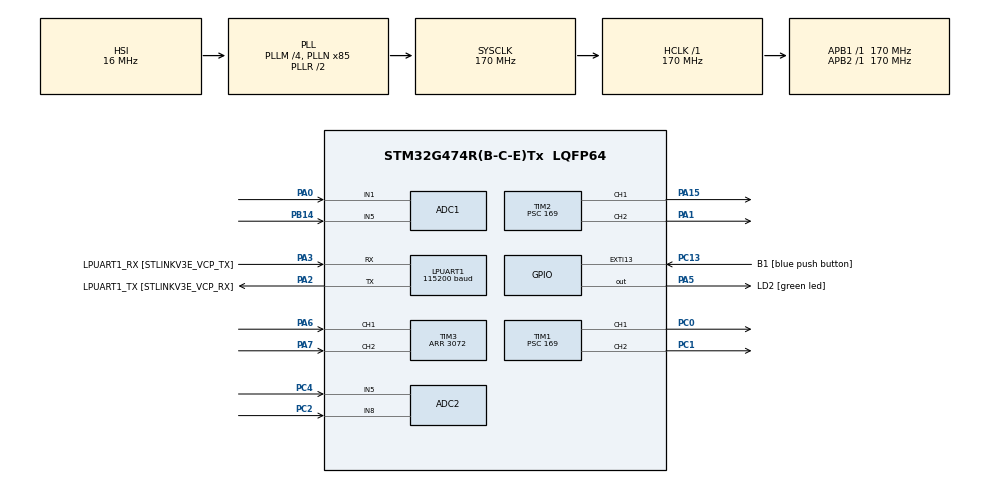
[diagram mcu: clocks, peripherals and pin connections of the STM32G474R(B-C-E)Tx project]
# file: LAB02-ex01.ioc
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ADC1.Channel-0\#ChannelRegularConversion=ADC_CHANNEL_5
ADC1.NbrOfConversion=2
ADC1.NbrOfConversionFlag=1
ADC1.OffsetNumber-0\#ChannelRegularConversion=ADC_OFFSET_NONE
ADC1.Rank-0\#ChannelRegularConversion=2
ADC1.SamplingTime-0\#ChannelRegularConversion=ADC_SAMPLETIME_640CYCLES_5
ADC1.master=1
ADC2.Channel-0\#ChannelRegularConversion=ADC_CHANNEL_5
ADC2.Channel-1\#ChannelRegularConversion=ADC_CHANNEL_8
ADC2.ContinuousConvMode=DISABLE
ADC2.DMAContinuousRequests=DISABLE
ADC2.NbrOfConversion=2
ADC2.NbrOfConversionFlag=1
ADC2.OffsetNumber-0\#ChannelRegularConversion=ADC_OFFSET_NONE
ADC2.OffsetNumber-1\#ChannelRegularConversion=ADC_OFFSET_NONE
ADC2.Rank-0\#ChannelRegularConversion=1
ADC2.Rank-1\#ChannelRegularConversion=2
ADC2.SamplingTime-0\#ChannelRegularConversion=ADC_SAMPLETIME_640CYCLES_5
ADC2.SamplingTime-1\#ChannelRegularConversion=ADC_SAMPLETIME_640CYCLES_5
ARM.CMSIS-DSP.1.15.0.CMSISJjDSP=Source
ARM.CMSIS.6.0.0.CMSISJjCORE=true
LPUART1.BaudRate=115200
LPUART1.WordLength=UART_WORDLENGTH_8B
Mcu.Family=STM32G4
Mcu.Name=STM32G474R(B-C-E)Tx
Mcu.Package=LQFP64
NVIC.ADC1_2_IRQn=true\:0\:0\:false\:false\:true\:true\:true\:true
NVIC.EXTI15_10_IRQn=true\:0\:0\:false\:false\:true\:true\:true\:true
NVIC.LPUART1_IRQn=true\:0\:0\:false\:false\:true\:true\:true\:true
NVIC.PriorityGroup=NVIC_PRIORITYGROUP_4
NVIC.TIM5_IRQn=true\:0\:0\:false\:false\:true\:true\:true\:true
PA0.Mode=IN1-Single-Ended
PA0.Signal=ADC1_IN1
PA1.Signal=S_TIM2_CH2
PA13.GPIO_Label=T_SWDIO
PA13.Mode=Trace_Asynchronous_SW
PA13.Signal=SYS_JTMS-SWDIO
PA14.GPIO_Label=T_SWCLK
PA14.Mode=Trace_Asynchronous_SW
PA14.Signal=SYS_JTCK-SWCLK
PA15.Signal=S_TIM2_CH1
PA2.GPIO_Label=LPUART1_TX [STLINKV3E_VCP_RX]
PA2.Mode=Asynchronous
PA2.Signal=LPUART1_TX
PA3.GPIO_Label=LPUART1_RX [STLINKV3E_VCP_TX]
PA3.Mode=Asynchronous
PA3.Signal=LPUART1_RX
PA5.GPIO_Label=LD2 [green led]
PA5.Signal=GPIO_Output
PA6.Signal=S_TIM3_CH1
PA7.Signal=S_TIM3_CH2
PB14.Mode=IN5-Single-Ended
PB14.Signal=ADC1_IN5
PB3.GPIO_Label=T_SWO
PB3.Mode=Trace_Asynchronous_SW
PB3.Signal=SYS_JTDO-SWO
PC0.Signal=S_TIM1_CH1
PC1.Signal=S_TIM1_CH2
PC13.GPIO_Label=B1 [blue push button]
PC13.Signal=GPXTI13
PC14-OSC32_IN.Mode=LSE-External-Oscillator
PC14-OSC32_IN.Signal=RCC_OSC32_IN
PC15-OSC32_OUT.Mode=LSE-External-Oscillator
PC15-OSC32_OUT.Signal=RCC_OSC32_OUT
PC2.Mode=IN8-Single-Ended
PC2.Signal=ADC2_IN8
PC4.Mode=IN5-Single-Ended
PC4.Signal=ADC2_IN5
PF0-OSC_IN.Mode=HSE-External-Oscillator
PF0-OSC_IN.Signal=RCC_OSC_IN
PF1-OSC_OUT.Mode=HSE-External-Oscillator
PF1-OSC_OUT.Signal=RCC_OSC_OUT
ProjectManager.HeapSize=0x200
ProjectManager.StackSize=0x400
ProjectManager.TargetToolchain=STM32CubeIDE
RCC.ADC12Freq_Value=170000000
RCC.ADC345Freq_Value=170000000
RCC.AHBFreq_Value=170000000
RCC.APB1Freq_Value=170000000
RCC.APB1TimFreq_Value=170000000
RCC.APB2Freq_Value=170000000
RCC.APB2TimFreq_Value=170000000
RCC.CortexFreq_Value=170000000
RCC.EXTERNAL_CLOCK_VALUE=12288000
RCC.HCLKFreq_Value=170000000
RCC.HSE_VALUE=24000000
RCC.HSI48_VALUE=48000000
RCC.HSI_VALUE=16000000
RCC.PLLM=RCC_PLLM_DIV4
RCC.PLLN=85
RCC.RTCClockSelection=RCC_RTCCLKSOURCE_LSE
RCC.SYSCLKFreq_VALUE=170000000
RCC.SYSCLKSource=RCC_SYSCLKSOURCE_PLLCLK
RCC.USBFreq_Value=170000000
RCC.VCOOutputFreq_Value=340000000
SH.S_TIM1_CH1.0=TIM1_CH1,PWM Generation1 CH1
SH.S_TIM1_CH2.0=TIM1_CH2,PWM Generation2 CH2
SH.S_TIM2_CH1.0=TIM2_CH1,PWM Generation1 CH1
SH.S_TIM2_CH2.0=TIM2_CH2,PWM Generation2 CH2
SH.S_TIM3_CH1.0=TIM3_CH1,Encoder_Interface
SH.S_TIM3_CH2.0=TIM3_CH2,Encoder_Interface
TIM1.Channel-PWM\ Generation1\ CH1=TIM_CHANNEL_1
TIM1.Channel-PWM\ Generation2\ CH2=TIM_CHANNEL_2
TIM1.PeriodNoDither=1000
TIM1.Prescaler=169
TIM2.Channel-PWM\ Generation1\ CH1=TIM_CHANNEL_1
TIM2.Channel-PWM\ Generation2\ CH2=TIM_CHANNEL_2
TIM2.PeriodNoDither=19999
TIM2.Prescaler=169
TIM3.EncoderMode=TIM_ENCODERMODE_TI12
TIM3.PeriodNoDither=3072
TIM5.PeriodNoDither=1000
TIM5.Prescaler=169
VP_ARM.CMSIS-DSP_VS_CMSISJjDSP_1.15.0_1.15.0.Mode=CMSISJjDSP
VP_ARM.CMSIS_VS_CMSISJjCORE_6.0.0_6.0.0.Mode=CMSISJjCORE
VP_SYS_VS_DBSignals.Mode=DisableDeadBatterySignals
VP_TIM1_VS_ClockSourceINT.Mode=Internal
VP_TIM2_VS_ClockSourceINT.Mode=Internal
VP_TIM5_VS_ClockSourceINT.Mode=Internal
board=NUCLEO-G474RE

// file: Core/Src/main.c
/* USER CODE BEGIN Header */
/**
  ******************************************************************************
  * @file           : main.c
  * @brief          : Main program body
  ******************************************************************************
  * @attention
  *
  * Copyright (c) 2024 STMicroelectronics.
  * All rights reserved.
  *
  * This software is licensed under terms that can be found in the LICENSE file
  * in the root directory of this software component.
  * If no LICENSE file comes w  ith this software, it is provided AS-IS.
  *
  ******************************************************************************
  */
/* USER CODE END Header */
#include "main.h"

/* USER CODE BEGIN Includes */
#include "arm_math.h"
#include "stdio.h"
#include "string.h"
/* USER CODE END Includes */

ADC_HandleTypeDef hadc1;
ADC_HandleTypeDef hadc2;

UART_HandleTypeDef hlpuart1;

TIM_HandleTypeDef htim1;
TIM_HandleTypeDef htim2;
TIM_HandleTypeDef htim3;
TIM_HandleTypeDef htim5;

/* USER CODE BEGIN PV */
struct _ADC_tag {
ADC_ChannelConfTypeDef Config;
uint16_t data;
};
uint8_t Current_Channel = 0;

arm_pid_instance_f32 PID = {0};
arm_pid_instance_f32 PID_QEI = {0};

float anglepi, Vfeedback, setSpd, Position[2], DiffPosi, Vfeedback_QEI;
int angle, oldangle, PWM1, PWM2, QEIangle, Setangle;

uint16_t mode = 1;
uint16_t GPIO_PIN;

float setNEWspd, setPoint, D1, D2, D3, D4, NEWspd;

uint32_t QEIReadRaw, QEIReadOld;
int32_t spd, pos, maxSpd, posMM;
int posi;
int32_t set_pos;
float x;

//int ADC_sum[1] = {0};
uint16_t ADC_avg[1] = {0};
uint8_t ADCBytes[4];
uint16_t datasend;
int Degree_position = 0;
int Rad_position = 0;
uint8_t Recieve_PWM[5];
int PWM1 = 0;
int PWM2 = 0;
uint64_t _micros = 0;
float setposition=0;
int poten1=0;
int poten2=0;
float position=0;
float error = 0;

struct _ADC_tag ADC2_Channel[2] =
{
{
.Config.Channel = ADC_CHANNEL_5,
.Config.Rank = ADC_REGULAR_RANK_1,
.Config.SamplingTime = ADC_SAMPLETIME_640CYCLES_5,
.Config.SingleDiff = ADC_SINGLE_ENDED,
.Config.OffsetNumber = ADC_OFFSET_NONE,
.Config.Offset = 0,
.data = 0
},
{
.Config.Channel = ADC_CHANNEL_8,
.Config.Rank = ADC_REGULAR_RANK_2,
.Config.SamplingTime = ADC_SAMPLETIME_640CYCLES_5,
.Config.SingleDiff = ADC_SINGLE_ENDED,
.Config.OffsetNumber = ADC_OFFSET_NONE,
.Config.Offset = 0,
.data = 0
},
};

struct _ADC_tag ADC[2] = {
{
.Config.Channel = ADC_CHANNEL_1,
.Config.Rank = ADC_REGULAR_RANK_1,
.Config.SamplingTime = ADC_SAMPLETIME_640CYCLES_5,
.Config.SingleDiff = ADC_SINGLE_ENDED,
.Config.OffsetNumber = ADC_OFFSET_NONE,
.Config.Offset = 0,
.data = 0
},
{
.Config.Channel = ADC_CHANNEL_5,
.Config.Rank = ADC_REGULAR_RANK_2,
.Config.SamplingTime = ADC_SAMPLETIME_640CYCLES_5,
.Config.SingleDiff = ADC_SINGLE_ENDED,
.Config.OffsetNumber = ADC_OFFSET_NONE,
.Config.Offset = 0,
.data = 0
}

};

/* USER CODE END PV */

void SystemClock_Config(void);
static void MX_GPIO_Init(void);
static void MX_LPUART1_UART_Init(void);
static void MX_ADC1_Init(void);
static void MX_TIM1_Init(void);
static void MX_TIM5_Init(void);
static void MX_TIM3_Init(void);
static void MX_TIM2_Init(void);
static void MX_ADC2_Init(void);
/* USER CODE BEGIN PFP */
void avg();
void UARTInterruptConfig();
uint64_t micros();
void ADC_Read_blocking();
/* USER CODE END PFP */

int main(void)
{

  /* MCU Configuration--------------------------------------------------------*/

  /* Reset of all peripherals, Initializes the Flash interface and the Systick. */
  HAL_Init();

  /* Configure the system clock */
  SystemClock_Config();

  /* Initialize all configured peripherals */
  MX_GPIO_Init();
  MX_LPUART1_UART_Init();
  MX_ADC1_Init();
  MX_TIM1_Init();
  MX_TIM5_Init();
  MX_TIM3_Init();
  MX_TIM2_Init();
  MX_ADC2_Init();
  /* USER CODE BEGIN 2 */

  HAL_ADCEx_Calibration_Start(&hadc1, ADC_SINGLE_ENDED);
  HAL_ADC_Start_IT(&hadc1);

  HAL_TIM_Encoder_Start(&htim3,TIM_CHANNEL_ALL);
  HAL_TIM_Base_Start(&htim1);
  HAL_TIM_Base_Start(&htim2);
  HAL_TIM_Base_Start_IT(&htim5);

  HAL_TIM_PWM_Start(&htim1, TIM_CHANNEL_1);
  HAL_TIM_PWM_Start(&htim1, TIM_CHANNEL_2);
  HAL_TIM_PWM_Start(&htim2, TIM_CHANNEL_1);
  HAL_TIM_PWM_Start(&htim2, TIM_CHANNEL_2);
  PID.Kp = 0.002;
  PID.Ki = 0;
  PID.Kd = 0.0012;
  arm_pid_init_f32(&PID, 0);

  PID_QEI.Kp = 0.1;
  PID_QEI.Ki = 0;
  PID_QEI.Kd = 0.92425;
  arm_pid_init_f32(&PID_QEI, 0);
  void EX1_PID();
  void EX2_PID();
  void EX3();
  void Rmotor();
  void Lmotor();
  void Stopmotor();

  HAL_ADCEx_Calibration_Start(&hadc2, ADC_SINGLE_ENDED);

  /* USER CODE END 2 */

  /* Infinite loop */
  while (1)
  {

    /* USER CODE BEGIN 3 */
	  ADC_Read_blocking();
	  avg();

	  QEIReadRaw = __HAL_TIM_GET_COUNTER(&htim3);
	  QEIangle = (QEIReadRaw / 3072.0) * 360.0;

	  Setangle = (ADC[1].data / 4095.0) * 360.0;
	  setNEWspd = ((Vfeedback / 360.0)*(500.0));

//	  spd=(Vfeedback_QEI*20.0)+200.0;
	  spd=((Vfeedback_QEI/3600.0)*200.0);
	  setPoint = Setangle;

	  if (mode==1)
	       {
	          EX1_PID();

	          QEI_Stopmotor();
	          led1();
	       }

	     else if (mode==2)
	       {
	          EX2_PID();
	    	 Stopmotor();
	          led2();
	       }

	     else
	     {
	    	 EX3();
	        Stopmotor();
	        QEI_Stopmotor();
	        led3();

	     }

	  ////////////////////////////////////////////////////////

	}

  /* USER CODE END 3 */
}

void SystemClock_Config(void)
{
  RCC_OscInitTypeDef RCC_OscInitStruct = {0};
  RCC_ClkInitTypeDef RCC_ClkInitStruct = {0};

  /** Configure the main internal regulator output voltage
  */
  HAL_PWREx_ControlVoltageScaling(PWR_REGULATOR_VOLTAGE_SCALE1_BOOST);

  /** Initializes the RCC Oscillators according to the specified parameters
  * in the RCC_OscInitTypeDef structure.
  */
  RCC_OscInitStruct.OscillatorType = RCC_OSCILLATORTYPE_HSI;
  RCC_OscInitStruct.HSIState = RCC_HSI_ON;
  RCC_OscInitStruct.HSICalibrationValue = RCC_HSICALIBRATION_DEFAULT;
  RCC_OscInitStruct.PLL.PLLState = RCC_PLL_ON;
  RCC_OscInitStruct.PLL.PLLSource = RCC_PLLSOURCE_HSI;
  RCC_OscInitStruct.PLL.PLLM = RCC_PLLM_DIV4;
  RCC_OscInitStruct.PLL.PLLN = 85;
  RCC_OscInitStruct.PLL.PLLP = RCC_PLLP_DIV2;
  RCC_OscInitStruct.PLL.PLLQ = RCC_PLLQ_DIV2;
  RCC_OscInitStruct.PLL.PLLR = RCC_PLLR_DIV2;
  if (HAL_RCC_OscConfig(&RCC_OscInitStruct) != HAL_OK)
  {
    Error_Handler();
  }

  /** Initializes the CPU, AHB and APB buses clocks
  */
  RCC_ClkInitStruct.ClockType = RCC_CLOCKTYPE_HCLK|RCC_CLOCKTYPE_SYSCLK
                              |RCC_CLOCKTYPE_PCLK1|RCC_CLOCKTYPE_PCLK2;
  RCC_ClkInitStruct.SYSCLKSource = RCC_SYSCLKSOURCE_PLLCLK;
  RCC_ClkInitStruct.AHBCLKDivider = RCC_SYSCLK_DIV1;
  RCC_ClkInitStruct.APB1CLKDivider = RCC_HCLK_DIV1;
  RCC_ClkInitStruct.APB2CLKDivider = RCC_HCLK_DIV1;

  if (HAL_RCC_ClockConfig(&RCC_ClkInitStruct, FLASH_LATENCY_4) != HAL_OK)
  {
    Error_Handler();
  }
}

static void MX_ADC1_Init(void)
{

  ADC_MultiModeTypeDef multimode = {0};
  ADC_ChannelConfTypeDef sConfig = {0};

  /** Common config
  */
  hadc1.Instance = ADC1;
  hadc1.Init.ClockPrescaler = ADC_CLOCK_SYNC_PCLK_DIV4;
  hadc1.Init.Resolution = ADC_RESOLUTION_12B;
  hadc1.Init.DataAlign = ADC_DATAALIGN_RIGHT;
  hadc1.Init.GainCompensation = 0;
  hadc1.Init.ScanConvMode = ADC_SCAN_ENABLE;
  hadc1.Init.EOCSelection = ADC_EOC_SINGLE_CONV;
  hadc1.Init.LowPowerAutoWait = DISABLE;
  hadc1.Init.ContinuousConvMode = DISABLE;
  hadc1.Init.NbrOfConversion = 2;
  hadc1.Init.DiscontinuousConvMode = DISABLE;
  hadc1.Init.ExternalTrigConv = ADC_SOFTWARE_START;
  hadc1.Init.ExternalTrigConvEdge = ADC_EXTERNALTRIGCONVEDGE_NONE;
  hadc1.Init.DMAContinuousRequests = DISABLE;
  hadc1.Init.Overrun = ADC_OVR_DATA_PRESERVED;
  hadc1.Init.OversamplingMode = DISABLE;
  if (HAL_ADC_Init(&hadc1) != HAL_OK)
  {
    Error_Handler();
  }

  /** Configure the ADC multi-mode
  */
  multimode.Mode = ADC_MODE_INDEPENDENT;
  if (HAL_ADCEx_MultiModeConfigChannel(&hadc1, &multimode) != HAL_OK)
  {
    Error_Handler();
  }

  /** Configure Regular Channel
  */
  sConfig.Channel = ADC_CHANNEL_5;
  sConfig.Rank = ADC_REGULAR_RANK_2;
  sConfig.SamplingTime = ADC_SAMPLETIME_640CYCLES_5;
  sConfig.SingleDiff = ADC_SINGLE_ENDED;
  sConfig.OffsetNumber = ADC_OFFSET_NONE;
  sConfig.Offset = 0;
  if (HAL_ADC_ConfigChannel(&hadc1, &sConfig) != HAL_OK)
  {
    Error_Handler();
  }

}

static void MX_ADC2_Init(void)
{

  ADC_ChannelConfTypeDef sConfig = {0};

  /** Common config
  */
  hadc2.Instance = ADC2;
  hadc2.Init.ClockPrescaler = ADC_CLOCK_SYNC_PCLK_DIV4;
  hadc2.Init.Resolution = ADC_RESOLUTION_12B;
  hadc2.Init.DataAlign = ADC_DATAALIGN_RIGHT;
  hadc2.Init.GainCompensation = 0;
  hadc2.Init.ScanConvMode = ADC_SCAN_ENABLE;
  hadc2.Init.EOCSelection = ADC_EOC_SINGLE_CONV;
  hadc2.Init.LowPowerAutoWait = DISABLE;
  hadc2.Init.ContinuousConvMode = DISABLE;
  hadc2.Init.NbrOfConversion = 2;
  hadc2.Init.DiscontinuousConvMode = DISABLE;
  hadc2.Init.ExternalTrigConv = ADC_SOFTWARE_START;
  hadc2.Init.ExternalTrigConvEdge = ADC_EXTERNALTRIGCONVEDGE_NONE;
  hadc2.Init.DMAContinuousRequests = DISABLE;
  hadc2.Init.Overrun = ADC_OVR_DATA_PRESERVED;
  hadc2.Init.OversamplingMode = DISABLE;
  if (HAL_ADC_Init(&hadc2) != HAL_OK)
  {
    Error_Handler();
  }

  /** Configure Regular Channel
  */
  sConfig.Channel = ADC_CHANNEL_5;
  sConfig.Rank = ADC_REGULAR_RANK_1;
  sConfig.SamplingTime = ADC_SAMPLETIME_640CYCLES_5;
  sConfig.SingleDiff = ADC_SINGLE_ENDED;
  sConfig.OffsetNumber = ADC_OFFSET_NONE;
  sConfig.Offset = 0;
  if (HAL_ADC_ConfigChannel(&hadc2, &sConfig) != HAL_OK)
  {
    Error_Handler();
  }

  /** Configure Regular Channel
  */
  sConfig.Channel = ADC_CHANNEL_8;
  sConfig.Rank = ADC_REGULAR_RANK_2;
  if (HAL_ADC_ConfigChannel(&hadc2, &sConfig) != HAL_OK)
  {
    Error_Handler();
  }

}

static void MX_LPUART1_UART_Init(void)
{

  hlpuart1.Instance = LPUART1;
  hlpuart1.Init.BaudRate = 115200;
  hlpuart1.Init.WordLength = UART_WORDLENGTH_8B;
  hlpuart1.Init.StopBits = UART_STOPBITS_1;
  hlpuart1.Init.Parity = UART_PARITY_NONE;
  hlpuart1.Init.Mode = UART_MODE_TX_RX;
  hlpuart1.Init.HwFlowCtl = UART_HWCONTROL_NONE;
  hlpuart1.Init.OneBitSampling = UART_ONE_BIT_SAMPLE_DISABLE;
  hlpuart1.Init.ClockPrescaler = UART_PRESCALER_DIV1;
  hlpuart1.AdvancedInit.AdvFeatureInit = UART_ADVFEATURE_NO_INIT;
  if (HAL_UART_Init(&hlpuart1) != HAL_OK)
  {
    Error_Handler();
  }
  if (HAL_UARTEx_SetTxFifoThreshold(&hlpuart1, UART_TXFIFO_THRESHOLD_1_8) != HAL_OK)
  {
    Error_Handler();
  }
  if (HAL_UARTEx_SetRxFifoThreshold(&hlpuart1, UART_RXFIFO_THRESHOLD_1_8) != HAL_OK)
  {
    Error_Handler();
  }
  if (HAL_UARTEx_DisableFifoMode(&hlpuart1) != HAL_OK)
  {
    Error_Handler();
  }

}

static void MX_TIM1_Init(void)
{

  TIM_ClockConfigTypeDef sClockSourceConfig = {0};
  TIM_MasterConfigTypeDef sMasterConfig = {0};
  TIM_OC_InitTypeDef sConfigOC = {0};
  TIM_BreakDeadTimeConfigTypeDef sBreakDeadTimeConfig = {0};

  htim1.Instance = TIM1;
  htim1.Init.Prescaler = 169;
  htim1.Init.CounterMode = TIM_COUNTERMODE_UP;
  htim1.Init.Period = 1000;
  htim1.Init.ClockDivision = TIM_CLOCKDIVISION_DIV1;
  htim1.Init.RepetitionCounter = 0;
  htim1.Init.AutoReloadPreload = TIM_AUTORELOAD_PRELOAD_DISABLE;
  if (HAL_TIM_Base_Init(&htim1) != HAL_OK)
  {
    Error_Handler();
  }
  sClockSourceConfig.ClockSource = TIM_CLOCKSOURCE_INTERNAL;
  if (HAL_TIM_ConfigClockSource(&htim1, &sClockSourceConfig) != HAL_OK)
  {
    Error_Handler();
  }
  if (HAL_TIM_PWM_Init(&htim1) != HAL_OK)
  {
    Error_Handler();
  }
  sMasterConfig.MasterOutputTrigger = TIM_TRGO_RESET;
  sMasterConfig.MasterOutputTrigger2 = TIM_TRGO2_RESET;
  sMasterConfig.MasterSlaveMode = TIM_MASTERSLAVEMODE_DISABLE;
  if (HAL_TIMEx_MasterConfigSynchronization(&htim1, &sMasterConfig) != HAL_OK)
  {
    Error_Handler();
  }
  sConfigOC.OCMode = TIM_OCMODE_PWM1;
  sConfigOC.Pulse = 0;
  sConfigOC.OCPolarity = TIM_OCPOLARITY_HIGH;
  sConfigOC.OCNPolarity = TIM_OCNPOLARITY_HIGH;
  sConfigOC.OCFastMode = TIM_OCFAST_DISABLE;
  sConfigOC.OCIdleState = TIM_OCIDLESTATE_RESET;
  sConfigOC.OCNIdleState = TIM_OCNIDLESTATE_RESET;
  if (HAL_TIM_PWM_ConfigChannel(&htim1, &sConfigOC, TIM_CHANNEL_1) != HAL_OK)
  {
    Error_Handler();
  }
  if (HAL_TIM_PWM_ConfigChannel(&htim1, &sConfigOC, TIM_CHANNEL_2) != HAL_OK)
  {
    Error_Handler();
  }
  sBreakDeadTimeConfig.OffStateRunMode = TIM_OSSR_DISABLE;
  sBreakDeadTimeConfig.OffStateIDLEMode = TIM_OSSI_DISABLE;
  sBreakDeadTimeConfig.LockLevel = TIM_LOCKLEVEL_OFF;
  sBreakDeadTimeConfig.DeadTime = 0;
  sBreakDeadTimeConfig.BreakState = TIM_BREAK_DISABLE;
  sBreakDeadTimeConfig.BreakPolarity = TIM_BREAKPOLARITY_HIGH;
  sBreakDeadTimeConfig.BreakFilter = 0;
  sBreakDeadTimeConfig.BreakAFMode = TIM_BREAK_AFMODE_INPUT;
  sBreakDeadTimeConfig.Break2State = TIM_BREAK2_DISABLE;
  sBreakDeadTimeConfig.Break2Polarity = TIM_BREAK2POLARITY_HIGH;
  sBreakDeadTimeConfig.Break2Filter = 0;
  sBreakDeadTimeConfig.Break2AFMode = TIM_BREAK_AFMODE_INPUT;
  sBreakDeadTimeConfig.AutomaticOutput = TIM_AUTOMATICOUTPUT_DISABLE;
  if (HAL_TIMEx_ConfigBreakDeadTime(&htim1, &sBreakDeadTimeConfig) != HAL_OK)
  {
    Error_Handler();
  }
  HAL_TIM_MspPostInit(&htim1);

}

static void MX_TIM2_Init(void)
{

  TIM_ClockConfigTypeDef sClockSourceConfig = {0};
  TIM_MasterConfigTypeDef sMasterConfig = {0};
  TIM_OC_InitTypeDef sConfigOC = {0};

  htim2.Instance = TIM2;
  htim2.Init.Prescaler = 169;
  htim2.Init.CounterMode = TIM_COUNTERMODE_UP;
  htim2.Init.Period = 19999;
  htim2.Init.ClockDivision = TIM_CLOCKDIVISION_DIV1;
  htim2.Init.AutoReloadPreload = TIM_AUTORELOAD_PRELOAD_DISABLE;
  if (HAL_TIM_Base_Init(&htim2) != HAL_OK)
  {
    Error_Handler();
  }
  sClockSourceConfig.ClockSource = TIM_CLOCKSOURCE_INTERNAL;
  if (HAL_TIM_ConfigClockSource(&htim2, &sClockSourceConfig) != HAL_OK)
  {
    Error_Handler();
  }
  if (HAL_TIM_PWM_Init(&htim2) != HAL_OK)
  {
    Error_Handler();
  }
  sMasterConfig.MasterOutputTrigger = TIM_TRGO_RESET;
  sMasterConfig.MasterSlaveMode = TIM_MASTERSLAVEMODE_DISABLE;
  if (HAL_TIMEx_MasterConfigSynchronization(&htim2, &sMasterConfig) != HAL_OK)
  {
    Error_Handler();
  }
  sConfigOC.OCMode = TIM_OCMODE_PWM1;
  sConfigOC.Pulse = 0;
  sConfigOC.OCPolarity = TIM_OCPOLARITY_HIGH;
  sConfigOC.OCFastMode = TIM_OCFAST_DISABLE;
  if (HAL_TIM_PWM_ConfigChannel(&htim2, &sConfigOC, TIM_CHANNEL_1) != HAL_OK)
  {
    Error_Handler();
  }
  if (HAL_TIM_PWM_ConfigChannel(&htim2, &sConfigOC, TIM_CHANNEL_2) != HAL_OK)
  {
    Error_Handler();
  }
  HAL_TIM_MspPostInit(&htim2);

}

static void MX_TIM3_Init(void)
{

  TIM_Encoder_InitTypeDef sConfig = {0};
  TIM_MasterConfigTypeDef sMasterConfig = {0};

  htim3.Instance = TIM3;
  htim3.Init.Prescaler = 0;
  htim3.Init.CounterMode = TIM_COUNTERMODE_UP;
  htim3.Init.Period = 3072;
  htim3.Init.ClockDivision = TIM_CLOCKDIVISION_DIV1;
  htim3.Init.AutoReloadPreload = TIM_AUTORELOAD_PRELOAD_DISABLE;
  sConfig.EncoderMode = TIM_ENCODERMODE_TI12;
  sConfig.IC1Polarity = TIM_ICPOLARITY_RISING;
  sConfig.IC1Selection = TIM_ICSELECTION_DIRECTTI;
  sConfig.IC1Prescaler = TIM_ICPSC_DIV1;
  sConfig.IC1Filter = 0;
  sConfig.IC2Polarity = TIM_ICPOLARITY_RISING;
  sConfig.IC2Selection = TIM_ICSELECTION_DIRECTTI;
  sConfig.IC2Prescaler = TIM_ICPSC_DIV1;
  sConfig.IC2Filter = 0;
  if (HAL_TIM_Encoder_Init(&htim3, &sConfig) != HAL_OK)
  {
    Error_Handler();
  }
  sMasterConfig.MasterOutputTrigger = TIM_TRGO_RESET;
  sMasterConfig.MasterSlaveMode = TIM_MASTERSLAVEMODE_DISABLE;
  if (HAL_TIMEx_MasterConfigSynchronization(&htim3, &sMasterConfig) != HAL_OK)
  {
    Error_Handler();
  }

}

static void MX_TIM5_Init(void)
{

  TIM_ClockConfigTypeDef sClockSourceConfig = {0};
  TIM_MasterConfigTypeDef sMasterConfig = {0};

  htim5.Instance = TIM5;
  htim5.Init.Prescaler = 169;
  htim5.Init.CounterMode = TIM_COUNTERMODE_UP;
  htim5.Init.Period = 1000;
  htim5.Init.ClockDivision = TIM_CLOCKDIVISION_DIV1;
  htim5.Init.AutoReloadPreload = TIM_AUTORELOAD_PRELOAD_DISABLE;
  if (HAL_TIM_Base_Init(&htim5) != HAL_OK)
  {
    Error_Handler();
  }
  sClockSourceConfig.ClockSource = TIM_CLOCKSOURCE_INTERNAL;
  if (HAL_TIM_ConfigClockSource(&htim5, &sClockSourceConfig) != HAL_OK)
  {
    Error_Handler();
  }
  sMasterConfig.MasterOutputTrigger = TIM_TRGO_RESET;
  sMasterConfig.MasterSlaveMode = TIM_MASTERSLAVEMODE_DISABLE;
  if (HAL_TIMEx_MasterConfigSynchronization(&htim5, &sMasterConfig) != HAL_OK)
  {
    Error_Handler();
  }

}

static void MX_GPIO_Init(void)
{
  GPIO_InitTypeDef GPIO_InitStruct = {0};

  /* GPIO Ports Clock Enable */
  __HAL_RCC_GPIOC_CLK_ENABLE();
  __HAL_RCC_GPIOF_CLK_ENABLE();
  __HAL_RCC_GPIOA_CLK_ENABLE();
  __HAL_RCC_GPIOB_CLK_ENABLE();

  /*Configure GPIO pin Output Level */
  HAL_GPIO_WritePin(LD2_GPIO_Port, LD2_Pin, GPIO_PIN_RESET);

  /*Configure GPIO pin : B1_Pin */
  GPIO_InitStruct.Pin = B1_Pin;
  GPIO_InitStruct.Mode = GPIO_MODE_IT_RISING;
  GPIO_InitStruct.Pull = GPIO_NOPULL;
  HAL_GPIO_Init(B1_GPIO_Port, &GPIO_InitStruct);

  /*Configure GPIO pin : LD2_Pin */
  GPIO_InitStruct.Pin = LD2_Pin;
  GPIO_InitStruct.Mode = GPIO_MODE_OUTPUT_PP;
  GPIO_InitStruct.Pull = GPIO_NOPULL;
  GPIO_InitStruct.Speed = GPIO_SPEED_FREQ_LOW;
  HAL_GPIO_Init(LD2_GPIO_Port, &GPIO_InitStruct);

  /* EXTI interrupt init*/
  HAL_NVIC_SetPriority(EXTI15_10_IRQn, 0, 0);
  HAL_NVIC_EnableIRQ(EXTI15_10_IRQn);

}

/* USER CODE BEGIN 4 */
void ADC_Read_blocking()
{
static uint32_t TimeStamp = 0;
if( HAL_GetTick()<TimeStamp) return;
TimeStamp = HAL_GetTick()+500;
for(int i=0;i<2;i++)
{
HAL_ADC_ConfigChannel(&hadc2, &ADC2_Channel[i].Config);
HAL_ADC_Start(&hadc2);
HAL_ADC_PollForConversion(&hadc2, 100);
ADC2_Channel[i].data = HAL_ADC_GetValue(&hadc2);
HAL_ADC_Stop(&hadc2);
}
}

void HAL_TIM_PeriodElapsedCallback(TIM_HandleTypeDef *htim){
	if(htim == &htim5){

		angle = (ADC[0].data / 4095.0) * 360.0;
		Vfeedback = (arm_pid_f32(&PID, setPoint-angle) * 1000);
//
		Vfeedback_QEI = (arm_pid_f32(&PID_QEI, setPoint-QEIangle)*10);

//		Vfeedback_QEI = (arm_pid_f32(&PID_QEI, setPoint-QEIangle) * 1000);

	}
}

void HAL_ADC_ConvCpltCallback(ADC_HandleTypeDef *hadc)
{
if(hadc == &hadc1)
{
	ADC[Current_Channel].data= HAL_ADC_GetValue(&hadc1);
	//change channel
	Current_Channel++;
	Current_Channel %= 2;
	HAL_ADC_ConfigChannel(&hadc1,&ADC[Current_Channel].Config);
	//start next ADC
	HAL_ADC_Start_IT(&hadc1);
}
}

void Rmotor(){
		  __HAL_TIM_SET_COMPARE(&htim1, TIM_CHANNEL_1, setNEWspd);
		  __HAL_TIM_SET_COMPARE(&htim1, TIM_CHANNEL_2, 0);
}
void Lmotor(){
		  __HAL_TIM_SET_COMPARE(&htim1, TIM_CHANNEL_1, 0);
		  __HAL_TIM_SET_COMPARE(&htim1, TIM_CHANNEL_2, -setNEWspd);
}

void QEI_Rmotor(){
		  __HAL_TIM_SET_COMPARE(&htim2, TIM_CHANNEL_1, -spd);
		  __HAL_TIM_SET_COMPARE(&htim2, TIM_CHANNEL_2, 0);

}
void QEI_Lmotor(){
		  __HAL_TIM_SET_COMPARE(&htim2, TIM_CHANNEL_1, 0);
		  __HAL_TIM_SET_COMPARE(&htim2, TIM_CHANNEL_2, spd);
}

void QEI_Stopmotor(){
	  __HAL_TIM_SET_COMPARE(&htim2, TIM_CHANNEL_1, 0);
	  __HAL_TIM_SET_COMPARE(&htim2, TIM_CHANNEL_2, 0);

}

void Stopmotor(){
	  __HAL_TIM_SET_COMPARE(&htim1, TIM_CHANNEL_1, 0);
	  __HAL_TIM_SET_COMPARE(&htim1, TIM_CHANNEL_2, 0);

}

void EX1_PID(){

	  if(setPoint - angle <= 2 && setPoint - angle >= -2){Stopmotor();}

	  if(setPoint == 360 && setPoint - angle == 0){Stopmotor();}

	  if(setPoint - angle > 3 || setPoint - angle < -3){

			  if(Vfeedback > 1){Rmotor();}
			  else if(Vfeedback < -1){Lmotor();}
	  }

	}

void EX2_PID(){
	  if(setPoint - QEIangle <= 2 && setPoint - QEIangle >= -2){QEI_Stopmotor();}
	  if (setPoint - QEIangle > 3 || setPoint - QEIangle < -3){
		  if(Vfeedback_QEI > 1){QEI_Rmotor();}
		  else if(Vfeedback_QEI < -1){QEI_Lmotor();}
	  }
//	  else if (Vfeedback_QEI>0.5){QEI_Rmotor();}
//	  else if (Vfeedback_QEI<-0.5){QEI_Lmotor();}
//	  else if (Vfeedback_QEI <0.5 && Vfeedback_QEI>-0.5){QEI_Stopmotor();}

}

void EX3(){

	  error = setposition - position;
	  ADC_avg[0] = error;
	  //avg();
	  static uint64_t timestamp = 0;
	  uint64_t currentTime = micros();

	  if(currentTime > timestamp)
	  {
		  timestamp = currentTime + 5000; //us 200 Hz
		  datasend = ADC_avg[0];

		  ADCBytes[0] = 0x69; //Header
		  ADCBytes[1] = (uint8_t)(datasend & 0xFF); // Lower byte
		  ADCBytes[2] = (uint8_t)((datasend >> 8) & 0xFF); // Upper byte
		  ADCBytes[3] = 0x0A; //Terminater

		  HAL_UART_Transmit(&hlpuart1, ADCBytes , sizeof(ADCBytes), 10);
	  }

	  Degree_position = (datasend*360.0)/4095.0;
	  Rad_position = (datasend*3.14)/4095.0;
	  PWM1 = (int16_t)(Recieve_PWM[2]<< 8) + Recieve_PWM[1];
	  PWM2 = (int16_t)((PWM1*65535)/4095);
	  if(PWM1 > 0)
	  	  {
	  		  __HAL_TIM_SET_COMPARE(&htim1, TIM_CHANNEL_1, 0);
	  		  __HAL_TIM_SET_COMPARE(&htim1, TIM_CHANNEL_2, PWM2);
	  	  }
	  else if(PWM1 < 0)
	  	  {
	  		  __HAL_TIM_SET_COMPARE(&htim1, TIM_CHANNEL_1, PWM2);
	  		  __HAL_TIM_SET_COMPARE(&htim1, TIM_CHANNEL_2, 0);
	  	  }
}

void HAL_GPIO_EXTI_Callback(uint16_t GPIO_Pin)
 {
  if(GPIO_Pin == GPIO_PIN_13)
  {
   if(mode == 1){mode = 2;}
   else if (mode == 2){mode = 3;}
   else{mode = 1;}
  }
 }

 void led1(){HAL_GPIO_WritePin(GPIOA, GPIO_PIN_5,GPIO_PIN_SET);}

 void led2(){HAL_GPIO_WritePin(GPIOA, GPIO_PIN_5,GPIO_PIN_RESET);}

 void led3()
 {
  HAL_GPIO_TogglePin(GPIOA, GPIO_PIN_5);
  HAL_Delay(500);
 }

 void avg()
 {
 	 poten1=0;
 	 poten2=0;
 	for (int i = 0; i <= 38; i+=2){

// 		poten1 += ADC_RawRead[i];
// 		poten2 += ADC_RawRead[i+1];
 		}

          setposition =((poten2/20.0)/4095.0)*360.0;
          position= ((poten1/20.0)/4095.0)*360.0;

 }
 void UARTInterruptConfig()
 {
 	HAL_UART_Receive_IT(&hlpuart1, Recieve_PWM, 4);
 }
 void HAL_UART_RxCpltCallback(UART_HandleTypeDef *huart)
 {
 	if(huart == &hlpuart1)
 	{
 		Recieve_PWM[4] = '\0';
 		HAL_UART_Transmit_IT(&hlpuart1, Recieve_PWM, 4);
 	}
 }

// void HAL_TIM_PeriodElapsedCallback(TIM_HandleTypeDef *htim)
// {
// 	if(htim == &htim5)
// 	{
// 		_micros += UINT32_MAX;
// 	}
// }

uint64_t micros()
{
	return __HAL_TIM_GET_COUNTER(&htim5)+_micros;
}

/* USER CODE END 4 */

void Error_Handler(void)
{
  __disable_irq();
  while (1)
  {
  }
}
